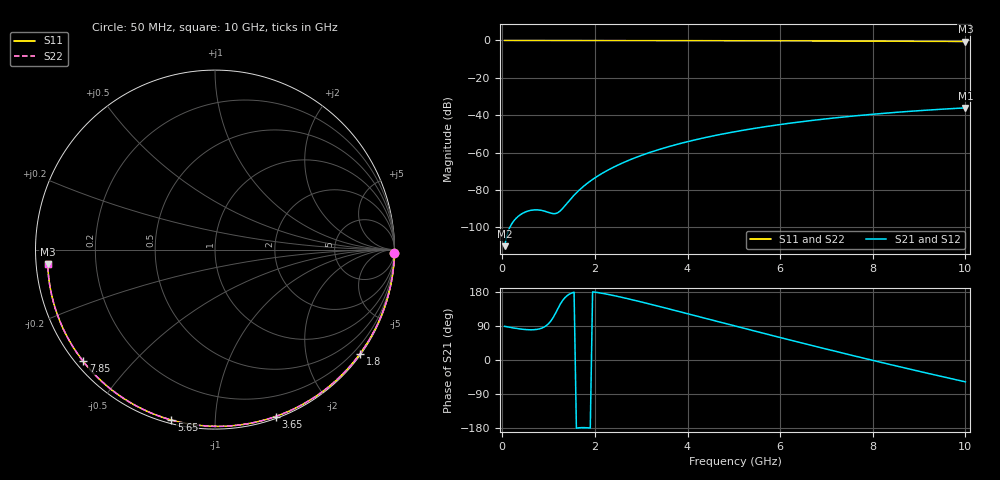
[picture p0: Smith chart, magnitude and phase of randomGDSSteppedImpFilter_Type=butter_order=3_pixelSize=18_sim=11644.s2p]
! freq	dB(S11)	phase(S11)	dB(S12)	phase(S12)
!  dB(S21)	phase(S21)	dB(S22)	phase(S22)
!S-par simulation data
#  GHz  S  DB  R 50
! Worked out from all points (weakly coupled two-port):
!   200 points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, 50 MHz to 10 GHz, reference 50 ohm
!   highest |S21| = -36.08 dB at 10 GHz (marker M1); lowest = -110.1 dB at 50 MHz (marker M2)
!   lowest |S11| = -0.6 dB at 10 GHz (marker M3), VSWR 30.15, Z = 1.66 - j2.21 ohm
!   |S11| at or under -10 dB: nowhere
!   |S22| runs from -0.6 to 0.0 dB; largest |S21 - S12| = 0
!   S11 on the Smith chart (normalised r, x): 50 MHz: open; 1.8 GHz: 0.03, -3.11; 3.65 GHz: 0.02, -1.43; 5.65 GHz: 0.02, -0.78; 7.85 GHz: 0.02, -0.37; 10 GHz: 0.03, -0.04
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0.05  -0.00 -1.0  -110.07 88.8  -110.07 88.8  -0.00 -1.0
0.4  -0.01 -8.1  -93.07 81.6  -93.07 81.6  -0.01 -8.1
0.8  -0.02 -16.0  -90.75 82.1  -90.75 82.1  -0.02 -16.0
1.2  -0.03 -23.9  -92.16 135.5  -92.16 135.5  -0.03 -23.9
1.65  -0.04 -32.7  -80.33 -178.9  -80.33 -178.9  -0.04 -32.7
1.75  -0.04 -34.6  -78.14 -178.4  -78.14 -178.4  -0.04 -34.6
1.8  -0.05 -35.6  -77.12 -178.6  -77.12 -178.6  -0.05 -35.6
2.1  -0.05 -41.4  -71.94 177.2  -71.94 177.2  -0.05 -41.4
2.45  -0.06 -48.0  -67.23 168.9  -67.23 168.9  -0.06 -48.0
2.9  -0.07 -56.4  -62.46 156.2  -62.46 156.2  -0.07 -56.4
3.4  -0.09 -65.6  -58.23 141.0  -58.23 141.0  -0.09 -65.6
3.65  -0.09 -70.1  -56.42 133.2  -56.42 133.2  -0.09 -70.1
4.35  -0.12 -82.4  -52.13 111.1  -52.13 111.1  -0.12 -82.4
5.05  -0.15 -94.4  -48.70 89.0  -48.70 89.0  -0.15 -94.4
5.65  -0.17 -104.4  -46.25 70.2  -46.25 70.2  -0.17 -104.4
6.15  -0.20 -112.5  -44.48 54.7  -44.48 54.7  -0.20 -112.5
6.7  -0.24 -121.4  -42.76 37.9  -42.76 37.9  -0.24 -121.4
7.3  -0.28 -131.0  -41.13 19.8  -41.13 19.8  -0.28 -131.0
7.85  -0.33 -139.7  -39.82 3.4  -39.82 3.4  -0.33 -139.7
8.35  -0.38 -147.7  -38.76 -11.2  -38.76 -11.2  -0.38 -147.7
9.2  -0.47 -161.5  -37.24 -35.5  -37.24 -35.5  -0.47 -161.5
10  -0.58 -174.9  -36.08 -57.6  -36.08 -57.6  -0.58 -174.9
